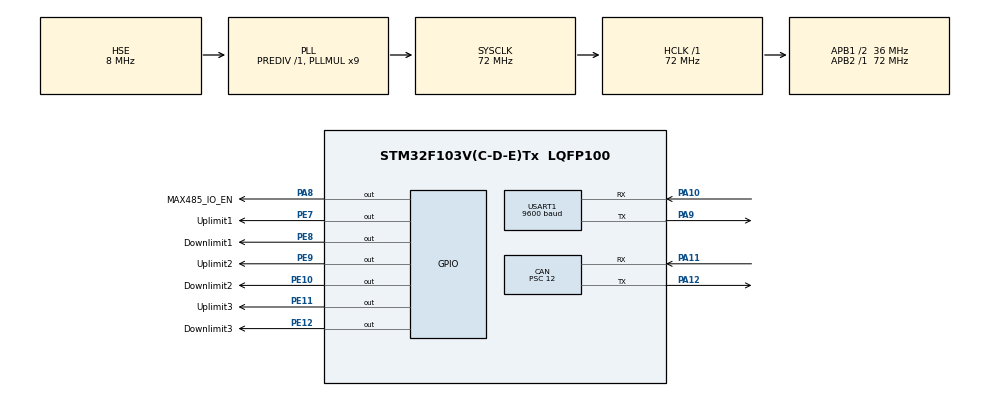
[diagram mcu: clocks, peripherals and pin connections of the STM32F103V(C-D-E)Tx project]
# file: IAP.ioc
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CAN.BS1=CAN_BS1_5TQ
CAN.BS2=CAN_BS2_6TQ
CAN.CalculateTimeBit=4000
CAN.CalculateTimeQuantum=333.33333333333337
CAN.Prescaler=12
Mcu.Family=STM32F1
Mcu.Name=STM32F103V(C-D-E)Tx
Mcu.Package=LQFP100
NVIC.PriorityGroup=NVIC_PRIORITYGROUP_4
OSC_IN.Mode=HSE-External-Oscillator
OSC_IN.Signal=RCC_OSC_IN
OSC_OUT.Mode=HSE-External-Oscillator
OSC_OUT.Signal=RCC_OSC_OUT
PA10.Mode=Asynchronous
PA10.Signal=USART1_RX
PA11.Mode=Master
PA11.Signal=CAN_RX
PA12.Mode=Master
PA12.Signal=CAN_TX
PA13.Mode=Serial_Wire
PA13.Signal=SYS_JTMS-SWDIO
PA14.Mode=Serial_Wire
PA14.Signal=SYS_JTCK-SWCLK
PA8.GPIO_Label=MAX485_IO_EN
PA8.GPIO_Speed=GPIO_SPEED_FREQ_LOW
PA8.PinState=GPIO_PIN_SET
PA8.Signal=GPIO_Output
PA9.Mode=Asynchronous
PA9.Signal=USART1_TX
PE10.GPIO_Label=Downlimit2
PE10.PinState=GPIO_PIN_SET
PE10.Signal=GPIO_Output
PE11.GPIO_Label=Uplimit3
PE11.PinState=GPIO_PIN_SET
PE11.Signal=GPIO_Output
PE12.GPIO_Label=Downlimit3
PE12.PinState=GPIO_PIN_SET
PE12.Signal=GPIO_Output
PE7.GPIO_Label=Uplimit1
PE7.PinState=GPIO_PIN_SET
PE7.Signal=GPIO_Output
PE8.GPIO_Label=Downlimit1
PE8.PinState=GPIO_PIN_SET
PE8.Signal=GPIO_Output
PE9.GPIO_Label=Uplimit2
PE9.PinState=GPIO_PIN_SET
PE9.Signal=GPIO_Output
ProjectManager.HeapSize=0x200
ProjectManager.StackSize=0x400
ProjectManager.TargetToolchain=MDK-ARM V5
RCC.AHBFreq_Value=72000000
RCC.APB1CLKDivider=RCC_HCLK_DIV2
RCC.APB1Freq_Value=36000000
RCC.APB1TimFreq_Value=72000000
RCC.APB2Freq_Value=72000000
RCC.APB2TimFreq_Value=72000000
RCC.HCLKFreq_Value=72000000
RCC.PLLMUL=RCC_PLL_MUL9
RCC.PLLSourceVirtual=RCC_PLLSOURCE_HSE
RCC.SYSCLKFreq_VALUE=72000000
RCC.SYSCLKSource=RCC_SYSCLKSOURCE_PLLCLK
RCC.USBFreq_Value=72000000
USART1.BaudRate=9600
USART1.VirtualMode=VM_ASYNC
board=IAP

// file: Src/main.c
/**
  ******************************************************************************
  * File Name          : main.c
  * Description        : Main program body
  ******************************************************************************
  ** This notice applies to any and all portions of this file
  * that are not between comment pairs USER CODE BEGIN and
  * USER CODE END. Other portions of this file, whether
  * inserted by the user or by software development tools
  * are owned by their respective copyright owners.
  *
  * COPYRIGHT(c) 2018 STMicroelectronics
  *
  * Redistribution and use in source and binary forms, with or without modification,
  * are permitted provided that the following conditions are met:
  *   1. Redistributions of source code must retain the above copyright notice,
  *      this list of conditions and the following disclaimer.
  *   2. Redistributions in binary form must reproduce the above copyright notice,
  *      this list of conditions and the following disclaimer in the documentation
  *      and/or other materials provided with the distribution.
  *   3. Neither the name of STMicroelectronics nor the names of its contributors
  *      may be used to endorse or promote products derived from this software
  *      without specific prior written permission.
  *
  * THIS SOFTWARE IS PROVIDED BY THE COPYRIGHT HOLDERS AND CONTRIBUTORS "AS IS"
  * AND ANY EXPRESS OR IMPLIED WARRANTIES, INCLUDING, BUT NOT LIMITED TO, THE
  * IMPLIED WARRANTIES OF MERCHANTABILITY AND FITNESS FOR A PARTICULAR PURPOSE ARE
  * DISCLAIMED. IN NO EVENT SHALL THE COPYRIGHT HOLDER OR CONTRIBUTORS BE LIABLE
  * FOR ANY DIRECT, INDIRECT, INCIDENTAL, SPECIAL, EXEMPLARY, OR CONSEQUENTIAL
  * DAMAGES (INCLUDING, BUT NOT LIMITED TO, PROCUREMENT OF SUBSTITUTE GOODS OR
  * SERVICES; LOSS OF USE, DATA, OR PROFITS; OR BUSINESS INTERRUPTION) HOWEVER
  * CAUSED AND ON ANY THEORY OF LIABILITY, WHETHER IN CONTRACT, STRICT LIABILITY,
  * OR TORT (INCLUDING NEGLIGENCE OR OTHERWISE) ARISING IN ANY WAY OUT OF THE USE
  * OF THIS SOFTWARE, EVEN IF ADVISED OF THE POSSIBILITY OF SUCH DAMAGE.
  *
  ******************************************************************************
  */

#include "main.h"
#include "stm32f1xx_hal.h"

/* USER CODE BEGIN Includes */
#include "user_io.h"
#include "user_uart.h"
#include "user_boot.h"
#include "flash_map.h"
#include "flash_if.h"
#include "user_flash.h"
#include "modbus_usart.h"
/* USER CODE END Includes */

CAN_HandleTypeDef hcan;

UART_HandleTypeDef huart1;

/* USER CODE BEGIN PV */
/* Private variables ---------------------------------------------------------*/

/* USER CODE END PV */

void SystemClock_Config(void);
static void MX_GPIO_Init(void);
static void MX_USART1_UART_Init(void);
static void MX_CAN_Init(void);

/* USER CODE BEGIN PFP */
/* Private function prototypes -----------------------------------------------*/

/* USER CODE END PFP */

int main(void)
{

  /* USER CODE BEGIN 1 */
	uint32_t UpdateTimeoutTimer = 0u;
	uint32_t UpdateTimeout = 0u;
	user_boot();
  /* USER CODE END 1 */

  /* MCU Configuration----------------------------------------------------------*/

  /* Reset of all peripherals, Initializes the Flash interface and the Systick. */
  HAL_Init();

  /* Configure the system clock */
  SystemClock_Config();

  /* Initialize all configured peripherals */
  MX_GPIO_Init();
  MX_USART1_UART_Init();
  MX_CAN_Init();

  /* USER CODE BEGIN 2 */
	user_io_init();
	user_uart_init();
  /* USER CODE END 2 */

  /* Infinite loop */
  while (1)
  {

  /* USER CODE BEGIN 3 */
//		usart_update_detection();
		SerialDownload();
/*******************�����BEGIN*******************************/
			if (HAL_GetTick() - UpdateTimeout >= 1000)
			{
					LED_UP_LIMIT2_TOGGLE();
					UpdateTimeout=HAL_GetTick();
			}
/********************�����END******************************/
			if (HAL_GetTick() - UpdateTimeoutTimer >= 3*60*1000)
			{
				HAL_NVIC_SystemReset();
				while(1);
			}
  }
  /* USER CODE END 3 */

}

/** System Clock Configuration
*/
void SystemClock_Config(void)
{

  RCC_OscInitTypeDef RCC_OscInitStruct;
  RCC_ClkInitTypeDef RCC_ClkInitStruct;

    /**Initializes the CPU, AHB and APB busses clocks
    */
  RCC_OscInitStruct.OscillatorType = RCC_OSCILLATORTYPE_HSE;
  RCC_OscInitStruct.HSEState = RCC_HSE_ON;
  RCC_OscInitStruct.HSEPredivValue = RCC_HSE_PREDIV_DIV1;
  RCC_OscInitStruct.HSIState = RCC_HSI_ON;
  RCC_OscInitStruct.PLL.PLLState = RCC_PLL_ON;
  RCC_OscInitStruct.PLL.PLLSource = RCC_PLLSOURCE_HSE;
  RCC_OscInitStruct.PLL.PLLMUL = RCC_PLL_MUL9;
  if (HAL_RCC_OscConfig(&RCC_OscInitStruct) != HAL_OK)
  {
    _Error_Handler(__FILE__, __LINE__);
  }

    /**Initializes the CPU, AHB and APB busses clocks
    */
  RCC_ClkInitStruct.ClockType = RCC_CLOCKTYPE_HCLK|RCC_CLOCKTYPE_SYSCLK
                              |RCC_CLOCKTYPE_PCLK1|RCC_CLOCKTYPE_PCLK2;
  RCC_ClkInitStruct.SYSCLKSource = RCC_SYSCLKSOURCE_PLLCLK;
  RCC_ClkInitStruct.AHBCLKDivider = RCC_SYSCLK_DIV1;
  RCC_ClkInitStruct.APB1CLKDivider = RCC_HCLK_DIV2;
  RCC_ClkInitStruct.APB2CLKDivider = RCC_HCLK_DIV1;

  if (HAL_RCC_ClockConfig(&RCC_ClkInitStruct, FLASH_LATENCY_2) != HAL_OK)
  {
    _Error_Handler(__FILE__, __LINE__);
  }

    /**Configure the Systick interrupt time
    */
  HAL_SYSTICK_Config(HAL_RCC_GetHCLKFreq()/1000);

    /**Configure the Systick
    */
  HAL_SYSTICK_CLKSourceConfig(SYSTICK_CLKSOURCE_HCLK);

  /* SysTick_IRQn interrupt configuration */
  HAL_NVIC_SetPriority(SysTick_IRQn, 0, 0);
}

/* CAN init function */
static void MX_CAN_Init(void)
{

  hcan.Instance = CAN1;
  hcan.Init.Prescaler = 12;
  hcan.Init.Mode = CAN_MODE_NORMAL;
  hcan.Init.SJW = CAN_SJW_1TQ;
  hcan.Init.BS1 = CAN_BS1_5TQ;
  hcan.Init.BS2 = CAN_BS2_6TQ;
  hcan.Init.TTCM = DISABLE;
  hcan.Init.ABOM = DISABLE;
  hcan.Init.AWUM = DISABLE;
  hcan.Init.NART = DISABLE;
  hcan.Init.RFLM = DISABLE;
  hcan.Init.TXFP = DISABLE;
  if (HAL_CAN_Init(&hcan) != HAL_OK)
  {
    _Error_Handler(__FILE__, __LINE__);
  }

}

/* USART1 init function */
static void MX_USART1_UART_Init(void)
{

  huart1.Instance = USART1;
  huart1.Init.BaudRate = 9600;
  huart1.Init.WordLength = UART_WORDLENGTH_8B;
  huart1.Init.StopBits = UART_STOPBITS_1;
  huart1.Init.Parity = UART_PARITY_NONE;
  huart1.Init.Mode = UART_MODE_TX_RX;
  huart1.Init.HwFlowCtl = UART_HWCONTROL_NONE;
  huart1.Init.OverSampling = UART_OVERSAMPLING_16;
  if (HAL_UART_Init(&huart1) != HAL_OK)
  {
    _Error_Handler(__FILE__, __LINE__);
  }

}

/** Configure pins as
        * Analog
        * Input
        * Output
        * EVENT_OUT
        * EXTI
*/
static void MX_GPIO_Init(void)
{

  GPIO_InitTypeDef GPIO_InitStruct;

  /* GPIO Ports Clock Enable */
  __HAL_RCC_GPIOE_CLK_ENABLE();
  __HAL_RCC_GPIOA_CLK_ENABLE();

  /*Configure GPIO pin Output Level */
  HAL_GPIO_WritePin(GPIOE, Uplimit1_Pin|Downlimit1_Pin|Uplimit2_Pin|Downlimit2_Pin
                          |Uplimit3_Pin|Downlimit3_Pin, GPIO_PIN_SET);

  /*Configure GPIO pin Output Level */
  HAL_GPIO_WritePin(MAX485_IO_EN_GPIO_Port, MAX485_IO_EN_Pin, GPIO_PIN_SET);

  /*Configure GPIO pins : Uplimit1_Pin Downlimit1_Pin Uplimit2_Pin Downlimit2_Pin
                           Uplimit3_Pin Downlimit3_Pin */
  GPIO_InitStruct.Pin = Uplimit1_Pin|Downlimit1_Pin|Uplimit2_Pin|Downlimit2_Pin
                          |Uplimit3_Pin|Downlimit3_Pin;
  GPIO_InitStruct.Mode = GPIO_MODE_OUTPUT_PP;
  GPIO_InitStruct.Speed = GPIO_SPEED_FREQ_LOW;
  HAL_GPIO_Init(GPIOE, &GPIO_InitStruct);

  /*Configure GPIO pin : MAX485_IO_EN_Pin */
  GPIO_InitStruct.Pin = MAX485_IO_EN_Pin;
  GPIO_InitStruct.Mode = GPIO_MODE_OUTPUT_PP;
  GPIO_InitStruct.Speed = GPIO_SPEED_FREQ_LOW;
  HAL_GPIO_Init(MAX485_IO_EN_GPIO_Port, &GPIO_InitStruct);

}

void _Error_Handler(char * file, int line)
{
  while(1)
  {
  }
}

/************************ (C) COPYRIGHT STMicroelectronics *****END OF FILE****/
